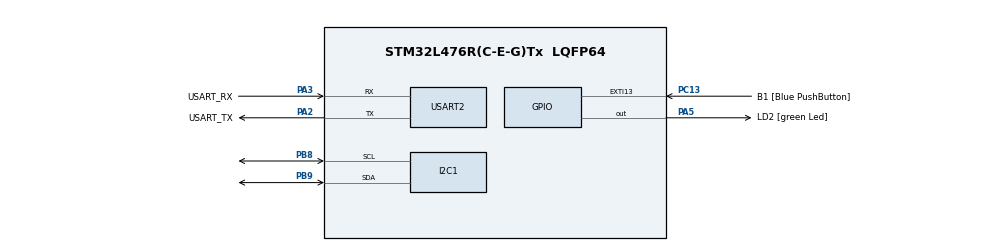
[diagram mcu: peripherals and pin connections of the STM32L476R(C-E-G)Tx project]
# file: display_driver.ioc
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I2C1.Timing=0x10909CEC
Mcu.Family=STM32L4
Mcu.Name=STM32L476R(C-E-G)Tx
Mcu.Package=LQFP64
NVIC.PriorityGroup=NVIC_PRIORITYGROUP_4
PA13\ (JTMS-SWDIO).GPIO_Label=TMS
PA13\ (JTMS-SWDIO).Mode=Serial_Wire
PA13\ (JTMS-SWDIO).Signal=SYS_JTMS-SWDIO
PA14\ (JTCK-SWCLK).GPIO_Label=TCK
PA14\ (JTCK-SWCLK).Mode=Serial_Wire
PA14\ (JTCK-SWCLK).Signal=SYS_JTCK-SWCLK
PA2.GPIO_Label=USART_TX
PA2.GPIO_Mode=GPIO_MODE_AF_PP
PA2.GPIO_PuPd=GPIO_NOPULL
PA2.GPIO_Speed=GPIO_SPEED_FREQ_VERY_HIGH
PA2.Mode=Asynchronous
PA2.Signal=USART2_TX
PA3.GPIO_Label=USART_RX
PA3.GPIO_Mode=GPIO_MODE_AF_PP
PA3.GPIO_PuPd=GPIO_NOPULL
PA3.GPIO_Speed=GPIO_SPEED_FREQ_VERY_HIGH
PA3.Mode=Asynchronous
PA3.Signal=USART2_RX
PA5.GPIO_Label=LD2 [green Led]
PA5.GPIO_ModeDefaultOutputPP=GPIO_MODE_OUTPUT_PP
PA5.GPIO_PuPd=GPIO_NOPULL
PA5.GPIO_Speed=GPIO_SPEED_FREQ_LOW
PA5.Signal=GPIO_Output
PB3\ (JTDO-TRACESWO).GPIO_Label=SWO
PB3\ (JTDO-TRACESWO).Signal=SYS_JTDO-SWO
PB8.Mode=I2C
PB8.Signal=I2C1_SCL
PB9.Mode=I2C
PB9.Signal=I2C1_SDA
PC13.GPIO_Label=B1 [Blue PushButton]
PC13.GPIO_ModeDefaultEXTI=GPIO_MODE_IT_FALLING
PC13.GPIO_PuPd=GPIO_NOPULL
PC13.Signal=GPXTI13
PC14-OSC32_IN\ (PC14).Mode=LSE-External-Oscillator
PC14-OSC32_IN\ (PC14).Signal=RCC_OSC32_IN
PC15-OSC32_OUT\ (PC15).Mode=LSE-External-Oscillator
PC15-OSC32_OUT\ (PC15).Signal=RCC_OSC32_OUT
PH0-OSC_IN\ (PH0).Signal=RCC_OSC_IN
PH1-OSC_OUT\ (PH1).Signal=RCC_OSC_OUT
ProjectManager.HeapSize=0x100
ProjectManager.StackSize=0x400
ProjectManager.TargetToolchain=STM32CubeIDE
RCC.ADCFreq_Value=64000000
RCC.AHBFreq_Value=80000000
RCC.APB1Freq_Value=80000000
RCC.APB1TimFreq_Value=80000000
RCC.APB2Freq_Value=80000000
RCC.APB2TimFreq_Value=80000000
RCC.CortexFreq_Value=80000000
RCC.HCLKFreq_Value=80000000
RCC.HSE_VALUE=8000000
RCC.HSI_VALUE=16000000
RCC.MSI_VALUE=4000000
RCC.PLLN=10
RCC.PLLSourceVirtual=RCC_PLLSOURCE_HSI
RCC.PREFETCH_ENABLE=1
RCC.SYSCLKFreq_VALUE=80000000
RCC.SYSCLKSource=RCC_SYSCLKSOURCE_PLLCLK
RCC.USBFreq_Value=64000000
RCC.VCOOutputFreq_Value=160000000
USART2.VirtualMode-Asynchronous=VM_ASYNC
board=NUCLEO-L476RG

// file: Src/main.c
/* USER CODE BEGIN Header */
/**
  ******************************************************************************
  * @file           : main.c
  * @brief          : Main program body
  ******************************************************************************
  * @attention
  *
  * <h2><center>&copy; Copyright (c) 2022 STMicroelectronics.
  * All rights reserved.</center></h2>
  *
  * This software component is licensed by ST under BSD 3-Clause license,
  * the "License"; You may not use this file except in compliance with the
  * License. You may obtain a copy of the License at:
  *                        opensource.org/licenses/BSD-3-Clause
  *
  ******************************************************************************
  */
/* USER CODE END Header */

#include "main.h"
#include "OLED_0in91.h"

/* USER CODE BEGIN PTD */
#define SSD1306_SETCONTRAST 0x81
#define SSD1306_DISPLAYALLON_RESUME 0xA4
#define SSD1306_DISPLAYALLON 0xA5
#define SSD1306_NORMALDISPLAY 0xA6
#define SSD1306_INVERTDISPLAY 0xA7
#define SSD1306_DISPLAYOFF 0xAE
#define SSD1306_DISPLAYON 0xAF
#define SSD1306_SETDISPLAYOFFSET 0xD3
#define SSD1306_SETCOMPINS 0xDA
#define SSD1306_SETVCOMDETECT 0xDB
#define SSD1306_SETDISPLAYCLOCKDIV 0xD5
#define SSD1306_SETPRECHARGE 0xD9
#define SSD1306_SETMULTIPLEX 0xA8
#define SSD1306_SETLOWCOLUMN 0x00
#define SSD1306_SETHIGHCOLUMN 0x10
#define SSD1306_SETSTARTLINE 0x40
#define SSD1306_MEMORYMODE 0x20
#define SSD1306_COLUMNADDR 0x21
#define SSD1306_PAGEADDR 0x22
#define SSD1306_COMSCANINC 0xC0
#define SSD1306_COMSCANDEC 0xC8
#define SSD1306_SEGREMAP 0xA0
#define SSD1306_CHARGEPUMP 0x8D
#define SSD1306_EXTERNALVCC 0x01
#define SSD1306_SWITCHCAPVCC 0x02

//Scrolling constants
#define SSD1306_ACTIVATE_SCROLL 0x2F
#define SSD1306_DEACTIVATE_SCROLL 0x2E
#define SSD1306_SET_VERTICAL_SCROLL_AREA 0xA3
#define SSD1306_RIGHT_HORIZONTAL_SCROLL 0x26
#define SSD1306_LEFT_HORIZONTAL_SCROLL 0x27
#define SSD1306_VERTICAL_AND_RIGHT_HORIZONTAL_SCROLL 0x29
#define SSD1306_VERTICAL_AND_LEFT_HORIZONTAL_SCROLL 0x2A

/********************************************************************************
function:
		Define the full screen height length of the display
********************************************************************************/
#define OLED_0in96_WIDTH  64//OLED width
#define OLED_0in96_HEIGHT 128 //OLED height
/* USER CODE END PTD */

void SystemClock_Config(void);
static void MX_GPIO_Init(void);
static void MX_I2C1_Init(void);
static void MX_USART2_UART_Init(void);
/* USER CODE BEGIN PFP */
uint8_t init_table[] = {	SSD1306_SETMULTIPLEX,		SSD1306_SETDISPLAYOFFSET,		SSD1306_SETSTARTLINE,
		  	  	  	  	  	SSD1306_SEGREMAP,			SSD1306_COMSCANINC,				SSD1306_SETCOMPINS,
							SSD1306_SETCONTRAST,		SSD1306_DISPLAYALLON_RESUME,	SSD1306_NORMALDISPLAY,
							SSD1306_SETDISPLAYCLOCKDIV,	SSD1306_CHARGEPUMP,				SSD1306_DISPLAYON	};
/* USER CODE END PFP */

int main(void)
{

  /* MCU Configuration--------------------------------------------------------*/

  /* Reset of all peripherals, Initializes the Flash interface and the Systick. */

  LL_APB2_GRP1_EnableClock(LL_APB2_GRP1_PERIPH_SYSCFG);
  LL_APB1_GRP1_EnableClock(LL_APB1_GRP1_PERIPH_PWR);

  NVIC_SetPriorityGrouping(NVIC_PRIORITYGROUP_4);

  /* System interrupt init*/

  /* Configure the system clock */
  SystemClock_Config();

  /* Initialize all configured peripherals */
  MX_GPIO_Init();
  MX_I2C1_Init();
  MX_USART2_UART_Init();
  /* USER CODE BEGIN 2 */
  LL_I2C_Enable(I2C1);

  /* USER CODE END 2 */

  /* Infinite loop */
  /* USER CODE BEGIN WHILE */

  /*
  1010	A
  1011	B
  1100	C
  1101	D
  1110	E
  1111	F
  */

  while (1)
  {
    /* USER CODE END WHILE */

	  LL_I2C_HandleTransfer(I2C1, 0x78, LL_I2C_ADDRSLAVE_7BIT ,2, LL_I2C_MODE_AUTOEND, LL_I2C_GENERATE_START_WRITE);
	  while(!LL_I2C_IsActiveFlag_STOP(I2C1))
	 	  {
	 		  if(LL_I2C_IsActiveFlag_TXE(I2C1))
	 		  {
	 			  LL_I2C_TransmitData8(I2C1, 0xAE);
	 		  }
	 	  }

  }
}

void SystemClock_Config(void)
{
  LL_FLASH_SetLatency(LL_FLASH_LATENCY_4);

  if(LL_FLASH_GetLatency() != LL_FLASH_LATENCY_4)
  {
  Error_Handler();
  }
  LL_PWR_SetRegulVoltageScaling(LL_PWR_REGU_VOLTAGE_SCALE1);
  LL_RCC_HSI_Enable();

   /* Wait till HSI is ready */
  while(LL_RCC_HSI_IsReady() != 1)
  {

  }
  LL_RCC_HSI_SetCalibTrimming(16);
  LL_RCC_PLL_ConfigDomain_SYS(LL_RCC_PLLSOURCE_HSI, LL_RCC_PLLM_DIV_1, 10, LL_RCC_PLLR_DIV_2);
  LL_RCC_PLL_EnableDomain_SYS();
  LL_RCC_PLL_Enable();

   /* Wait till PLL is ready */
  while(LL_RCC_PLL_IsReady() != 1)
  {

  }
  LL_RCC_SetSysClkSource(LL_RCC_SYS_CLKSOURCE_PLL);

   /* Wait till System clock is ready */
  while(LL_RCC_GetSysClkSource() != LL_RCC_SYS_CLKSOURCE_STATUS_PLL)
  {

  }
  LL_RCC_SetAHBPrescaler(LL_RCC_SYSCLK_DIV_1);
  LL_RCC_SetAPB1Prescaler(LL_RCC_APB1_DIV_1);
  LL_RCC_SetAPB2Prescaler(LL_RCC_APB2_DIV_1);

  LL_Init1msTick(80000000);

  LL_SetSystemCoreClock(80000000);
  LL_RCC_SetUSARTClockSource(LL_RCC_USART2_CLKSOURCE_PCLK1);
  LL_RCC_SetI2CClockSource(LL_RCC_I2C1_CLKSOURCE_PCLK1);
}

static void MX_I2C1_Init(void)
{

  LL_I2C_InitTypeDef I2C_InitStruct = {0};

  LL_GPIO_InitTypeDef GPIO_InitStruct = {0};

  LL_AHB2_GRP1_EnableClock(LL_AHB2_GRP1_PERIPH_GPIOB);
  /**I2C1 GPIO Configuration
  PB8   ------> I2C1_SCL
  PB9   ------> I2C1_SDA
  */
  GPIO_InitStruct.Pin = LL_GPIO_PIN_8|LL_GPIO_PIN_9;
  GPIO_InitStruct.Mode = LL_GPIO_MODE_ALTERNATE;
  GPIO_InitStruct.Speed = LL_GPIO_SPEED_FREQ_VERY_HIGH;
  GPIO_InitStruct.OutputType = LL_GPIO_OUTPUT_OPENDRAIN;
  GPIO_InitStruct.Pull = LL_GPIO_PULL_UP;
  GPIO_InitStruct.Alternate = LL_GPIO_AF_4;
  LL_GPIO_Init(GPIOB, &GPIO_InitStruct);

  /* Peripheral clock enable */
  LL_APB1_GRP1_EnableClock(LL_APB1_GRP1_PERIPH_I2C1);

  /** I2C Initialization
  */
  LL_I2C_EnableAutoEndMode(I2C1);
  LL_I2C_DisableOwnAddress2(I2C1);
  LL_I2C_DisableGeneralCall(I2C1);
  LL_I2C_EnableClockStretching(I2C1);
  I2C_InitStruct.PeripheralMode = LL_I2C_MODE_I2C;
  I2C_InitStruct.Timing = 0x10909CEC;
  I2C_InitStruct.AnalogFilter = LL_I2C_ANALOGFILTER_ENABLE;
  I2C_InitStruct.DigitalFilter = 0;
  I2C_InitStruct.OwnAddress1 = 0;
  I2C_InitStruct.TypeAcknowledge = LL_I2C_ACK;
  I2C_InitStruct.OwnAddrSize = LL_I2C_OWNADDRESS1_7BIT;
  LL_I2C_Init(I2C1, &I2C_InitStruct);
  LL_I2C_SetOwnAddress2(I2C1, 0, LL_I2C_OWNADDRESS2_NOMASK);

}

static void MX_USART2_UART_Init(void)
{

  LL_USART_InitTypeDef USART_InitStruct = {0};

  LL_GPIO_InitTypeDef GPIO_InitStruct = {0};

  /* Peripheral clock enable */
  LL_APB1_GRP1_EnableClock(LL_APB1_GRP1_PERIPH_USART2);

  LL_AHB2_GRP1_EnableClock(LL_AHB2_GRP1_PERIPH_GPIOA);
  /**USART2 GPIO Configuration
  PA2   ------> USART2_TX
  PA3   ------> USART2_RX
  */
  GPIO_InitStruct.Pin = USART_TX_Pin|USART_RX_Pin;
  GPIO_InitStruct.Mode = LL_GPIO_MODE_ALTERNATE;
  GPIO_InitStruct.Speed = LL_GPIO_SPEED_FREQ_VERY_HIGH;
  GPIO_InitStruct.OutputType = LL_GPIO_OUTPUT_PUSHPULL;
  GPIO_InitStruct.Pull = LL_GPIO_PULL_NO;
  GPIO_InitStruct.Alternate = LL_GPIO_AF_7;
  LL_GPIO_Init(GPIOA, &GPIO_InitStruct);

  USART_InitStruct.BaudRate = 115200;
  USART_InitStruct.DataWidth = LL_USART_DATAWIDTH_8B;
  USART_InitStruct.StopBits = LL_USART_STOPBITS_1;
  USART_InitStruct.Parity = LL_USART_PARITY_NONE;
  USART_InitStruct.TransferDirection = LL_USART_DIRECTION_TX_RX;
  USART_InitStruct.HardwareFlowControl = LL_USART_HWCONTROL_NONE;
  USART_InitStruct.OverSampling = LL_USART_OVERSAMPLING_16;
  LL_USART_Init(USART2, &USART_InitStruct);
  LL_USART_ConfigAsyncMode(USART2);
  LL_USART_Enable(USART2);

}

static void MX_GPIO_Init(void)
{
  LL_EXTI_InitTypeDef EXTI_InitStruct = {0};
  LL_GPIO_InitTypeDef GPIO_InitStruct = {0};

  /* GPIO Ports Clock Enable */
  LL_AHB2_GRP1_EnableClock(LL_AHB2_GRP1_PERIPH_GPIOC);
  LL_AHB2_GRP1_EnableClock(LL_AHB2_GRP1_PERIPH_GPIOH);
  LL_AHB2_GRP1_EnableClock(LL_AHB2_GRP1_PERIPH_GPIOA);
  LL_AHB2_GRP1_EnableClock(LL_AHB2_GRP1_PERIPH_GPIOB);

  /**/
  LL_GPIO_ResetOutputPin(LD2_GPIO_Port, LD2_Pin);

  /**/
  LL_SYSCFG_SetEXTISource(LL_SYSCFG_EXTI_PORTC, LL_SYSCFG_EXTI_LINE13);

  /**/
  EXTI_InitStruct.Line_0_31 = LL_EXTI_LINE_13;
  EXTI_InitStruct.Line_32_63 = LL_EXTI_LINE_NONE;
  EXTI_InitStruct.LineCommand = ENABLE;
  EXTI_InitStruct.Mode = LL_EXTI_MODE_IT;
  EXTI_InitStruct.Trigger = LL_EXTI_TRIGGER_FALLING;
  LL_EXTI_Init(&EXTI_InitStruct);

  /**/
  LL_GPIO_SetPinPull(B1_GPIO_Port, B1_Pin, LL_GPIO_PULL_NO);

  /**/
  LL_GPIO_SetPinMode(B1_GPIO_Port, B1_Pin, LL_GPIO_MODE_INPUT);

  /**/
  GPIO_InitStruct.Pin = LD2_Pin;
  GPIO_InitStruct.Mode = LL_GPIO_MODE_OUTPUT;
  GPIO_InitStruct.Speed = LL_GPIO_SPEED_FREQ_LOW;
  GPIO_InitStruct.OutputType = LL_GPIO_OUTPUT_PUSHPULL;
  GPIO_InitStruct.Pull = LL_GPIO_PULL_NO;
  LL_GPIO_Init(LD2_GPIO_Port, &GPIO_InitStruct);

}

void Error_Handler(void)
{
}

/************************ (C) COPYRIGHT STMicroelectronics *****END OF FILE****/
